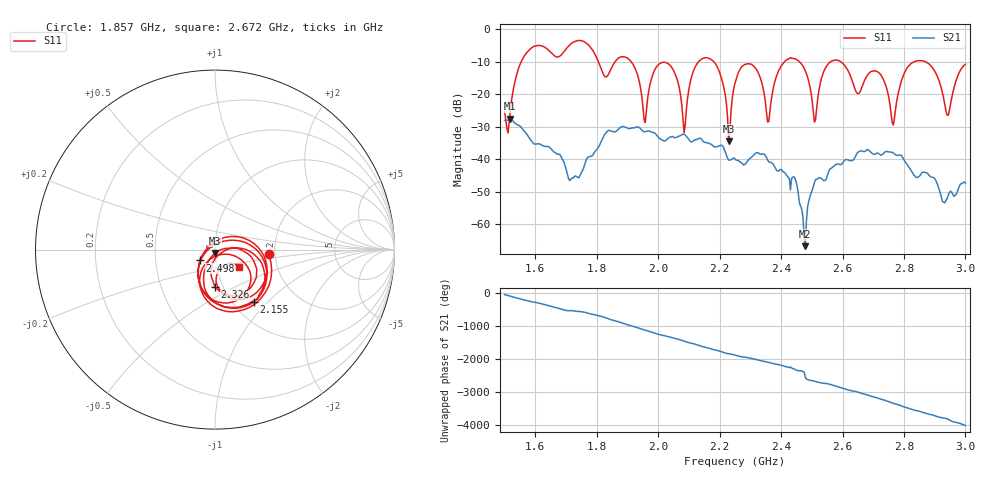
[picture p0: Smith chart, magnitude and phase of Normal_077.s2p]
# HZ S RI R 50
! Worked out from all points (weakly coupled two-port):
!   404 points, 1.5 GHz to 3 GHz, reference 50 ohm
!   highest |S21| = -27.57 dB at 1.519 GHz (marker M1); lowest = -66.7 dB at 2.479 GHz (marker M2)
!   lowest |S11| = -34.5 dB at 2.23 GHz (marker M3), VSWR 1.04, Z = 50.1 - j1.88 ohm
!   |S11| at or under -10 dB: 1.912 GHz to 2.132 GHz (220.3 MHz wide, 10.9 % of centre); 2.18 GHz to 2.412 GHz (231.6 MHz wide, 10.1 % of centre); 2.594 GHz to 2.835 GHz (241.7 MHz wide, 8.9 % of centre) (the widest 3 of 7)
!   S12 and S22 are empty: the file has one direction only
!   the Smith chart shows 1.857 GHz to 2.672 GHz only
!   S11 on the Smith chart (normalised r, x): 1.857 GHz: 1.86, -0.11; 2.155 GHz: 1.25, -0.83; 2.326 GHz: 0.92, -0.40; 2.498 GHz: 0.84, -0.10; 2.672 GHz: 1.28, -0.26
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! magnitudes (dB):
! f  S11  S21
! 1.5 GHz  -25.5  -28.0
! 1.519 GHz  -24.9  -27.6
! 1.582 GHz  -6.3  -33.7
! 1.753 GHz  -3.7  -43.6
! 1.857 GHz  -10.4  -31.6
! 1.958 GHz  -28.7  -31.6
! 2.002 GHz  -10.8  -33.5
! 2.084 GHz  -31.9  -32.3
! 2.155 GHz  -8.8  -34.9
! 2.23 GHz  -34.5  -40.2
! 2.252 GHz  -16.1  -40.1
! 2.326 GHz  -13.6  -38.1
! 2.36 GHz  -28.4  -40.8
! 2.408 GHz  -10.4  -44.0
! 2.479 GHz  -12.8  -66.7
! 2.498 GHz  -19.6  -50.4
! 2.501 GHz  -22.2  -49.5
! 2.672 GHz  -15.6  -37.6
! 2.751 GHz  -21.0  -37.8
! 2.859 GHz  -9.7  -44.0
! 2.944 GHz  -26.5  -51.1
! 3 GHz  -10.8  -47.3
